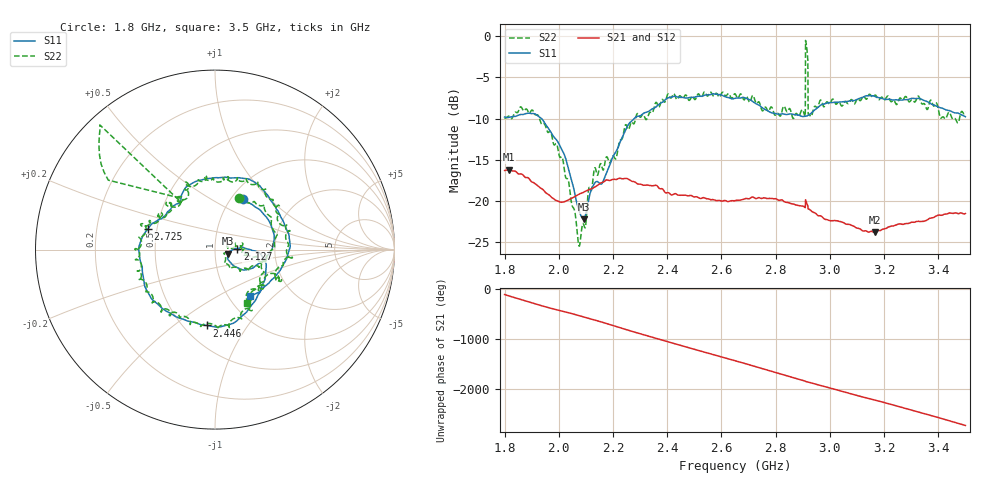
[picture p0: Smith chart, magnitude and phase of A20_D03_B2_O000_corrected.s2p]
! Created with skrf 1.9.0 (http://scikit-rf.org).
# Hz S RI R 50.0
!freq ReS11 ImS11 ReS21 ImS21 ReS12 ImS12 ReS22 ImS22
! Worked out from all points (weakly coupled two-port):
!   1601 points, 1.8 GHz to 3.5 GHz, reference 50 ohm
!   highest |S21| = -16.24 dB at 1.817 GHz (marker M1); lowest = -23.9 dB at 3.165 GHz (marker M2)
!   lowest |S11| = -22.3 dB at 2.091 GHz (marker M3), VSWR 1.17, Z = 57.9 - j2.55 ohm
!   |S11| at or under -10 dB: 1.936 GHz to 2.278 GHz (341.9 MHz wide, 16.2 % of centre)
!   |S22| runs from -25.5 to -0.5 dB; largest |S21 - S12| = 0.0027
!   S11 on the Smith chart (normalised r, x): 1.8 GHz: 1.12, +0.71; 2.127 GHz: 1.28, +0.01; 2.446 GHz: 0.64, -0.66; 2.725 GHz: 0.45, +0.12; 3.5 GHz: 1.25, -0.73
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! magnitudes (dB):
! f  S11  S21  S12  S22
! 1.8 GHz  -9.8  -16.3  -16.3  -9.9
! 1.817 GHz  -9.9  -16.2  -16.2  -9.7
! 1.903 GHz  -9.4  -17.8  -17.7  -9.0
! 1.968 GHz  -11.5  -19.4  -19.5  -11.5
! 2.015 GHz  -14.0  -20.2  -20.2  -15.0
! 2.072 GHz  -20.9  -19.3  -19.3  -25.2
! 2.084 GHz  -22.0  -19.1  -19.0  -23.6
! 2.091 GHz  -22.3  -19.0  -19.0  -22.8
! 2.127 GHz  -18.1  -18.4  -18.4  -17.0
! 2.26 GHz  -10.6  -17.5  -17.5  -11.2
! 2.367 GHz  -8.3  -18.4  -18.3  -8.5
! 2.446 GHz  -7.4  -19.3  -19.3  -7.2
! 2.65 GHz  -7.5  -20.0  -20.0  -7.0
! 2.725 GHz  -8.2  -19.7  -19.7  -8.0
! 2.884 GHz  -9.6  -20.6  -20.6  -9.7
! 2.901 GHz  -9.8  -20.7  -20.7  -9.0
! 2.91 GHz  -9.7  -19.9  -19.9  -0.5
! 2.919 GHz  -9.6  -20.6  -20.6  -3.0
! 2.934 GHz  -9.3  -21.3  -21.3  -9.6
! 3.165 GHz  -7.3  -23.9  -23.8  -7.2
! 3.217 GHz  -7.7  -23.2  -23.2  -7.4
! 3.5 GHz  -9.8  -21.6  -21.6  -9.2
